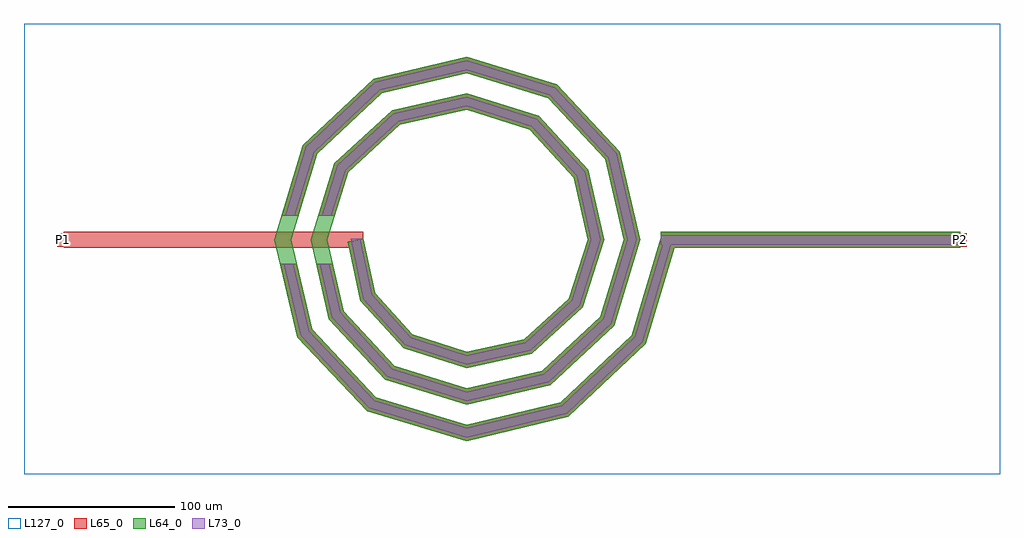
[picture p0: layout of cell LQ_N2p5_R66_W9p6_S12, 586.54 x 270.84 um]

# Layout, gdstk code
import gdstk
lib = gdstk.Library(unit=1e-6, precision=1e-09)
def R(c, l, rs):  # rectangles x0, y0, x1, y1
    for r in rs: c.add(gdstk.rectangle(r[:2], r[2:], *l))
def P(c, l, *ps):  # polygons
    for p in ps: c.add(gdstk.Polygon(p, *l))
L64_0 = (64, 0)
L65_0 = (65, 0)
L73_0 = (73, 0)
L127_0 = (127, 0)

lq_n2p5_r66_w9p6_s12 = lib.new_cell('LQ_N2p5_R66_W9p6_S12')
R(lq_n2p5_r66_w9p6_s12, L64_0, [(116.578,-4.8,296.578,4.8)])
P(lq_n2p5_r66_w9p6_s12, L64_0, [(-54.969,-32.02),(-32.51,-56.788),(0.234,-67.255),(34.735,-59.707),(61.509,-35.255),(72.717,0.217),(64.445,37.452),(37.999,66.231),(0.203,78.178),(-40.171,69.181),(-70.955,40.741),(-83.64,0.19),(-73.917,-42.892),(-43.482,-75.679),(0.179,-89.101),(45.613,-78.653),(80.404,-46.222),(94.563,0.17),(83.387,48.336),(48.96,85.129),(0.161,100.025),(-51.059,88.122),(-89.855,51.698),(-105.486,0.153),(-92.856,-53.784),(-54.436,-94.581),(0.146,-110.948),(56.509,-97.589),(99.308,-57.173),(116.778,1.373),(125.977,-1.373),(107.771,-62.385),(61.228,-106.337),(0.146,-120.883),(-59.659,-103.037),(-101.61,-58.491),(-115.421,0.153),(-98.303,56.935),(-55.753,96.883),(0.161,109.959),(54.211,93.569),(92.157,53.014),(104.497,0.17),(88.834,-51.488),(50.275,-87.431),(0.179,-99.034),(-48.765,-84.098),(-82.706,-47.535),(-93.572,0.19),(-79.362,46.044),(-44.793,77.981),(0.203,88.11),(43.324,74.625),(73.258,42.05),(82.647,0.217),(69.886,-40.606),(39.305,-68.535),(0.234,-77.184),(-37.889,-65.147),(-63.813,-36.558),(-71.451,-1.008),(-62.065,1.008)])
R(lq_n2p5_r66_w9p6_s12, L65_0, [(-241.958,-4.8,-61.958,4.8), (116.578,-4.8,296.578,4.8), (-245.958,-4,-237.958,4), (292.578,-4,300.578,4)])
P(lq_n2p5_r66_w9p6_s12, L65_0, [(-92.856,-53.784),(-54.436,-94.581),(0.146,-110.948),(56.509,-97.589),(99.308,-57.173),(116.778,1.373),(125.977,-1.373),(107.771,-62.385),(61.228,-106.337),(0.146,-120.883),(-59.659,-103.037),(-101.61,-58.491),(-111.994,-14.4),(-102.131,-14.4)],
  [(-73.917,-42.892),(-43.482,-75.679),(0.179,-89.101),(45.613,-78.653),(80.404,-46.222),(94.563,0.17),(83.387,48.336),(48.96,85.129),(0.161,100.025),(-51.06,88.122),(-89.855,51.698),(-101.099,14.4),(-111.126,14.4),(-98.303,56.935),(-55.753,96.883),(0.161,109.959),(54.211,93.569),(92.157,53.015),(104.497,0.17),(88.834,-51.488),(50.275,-87.431),(0.179,-99.034),(-48.765,-84.098),(-82.706,-47.535),(-90.25,-14.4),(-80.404,-14.4)],
  [(-32.51,-56.788),(0.234,-67.255),(34.735,-59.707),(61.509,-35.255),(72.717,0.217),(64.445,37.452),(37.999,66.231),(0.203,78.178),(-40.171,69.182),(-70.955,40.741),(-79.118,14.4),(-89.168,14.4),(-79.362,46.044),(-44.793,77.981),(0.203,88.11),(43.324,74.625),(73.258,42.05),(82.647,0.217),(69.886,-40.606),(39.305,-68.535),(0.234,-77.184),(-37.889,-65.147),(-63.813,-36.558),(-71.451,-1.008),(-62.065,1.008),(-54.969,-32.02)])
R(lq_n2p5_r66_w9p6_s12, L73_0, [(116.578,-2.8,296.578,2.8)])
P(lq_n2p5_r66_w9p6_s12, L73_0, [(-94.679,-54.764),(-55.524,-96.343),(0.085,-113.018),(57.492,-99.412),(101.071,-58.258),(118.695,0.801),(124.061,0.801),(106.008,-61.299),(60.245,-104.514),(0.085,-118.814),(-58.571,-101.276),(-99.786,-57.51),(-109.939,-14.4),(-104.186,-14.4)],
  [(-75.748,-43.859),(-44.583,-77.433),(0.105,-91.171),(46.585,-80.482),(82.16,-47.319),(96.633,0.099),(85.214,49.311),(50.054,86.887),(0.094,102.094),(-52.037,89.947),(-91.615,52.789),(-103.188,14.4),(-109.037,14.4),(-96.543,55.844),(-54.775,95.058),(0.094,107.889),(53.117,91.81),(90.33,52.04),(102.427,0.099),(87.077,-50.391),(49.304,-85.602),(0.105,-96.965),(-47.665,-82.344),(-80.875,-46.568),(-88.199,-14.4),(-82.456,-14.4)],
  [(-33.631,-58.529),(0.136,-69.324),(35.687,-61.546),(63.254,-36.37),(74.785,0.127),(66.281,38.41),(39.109,67.98),(0.118,80.247),(-41.134,71.015),(-72.706,41.846),(-81.212,14.4),(-87.075,14.4),(-77.61,44.939),(-43.83,76.148),(0.118,86.041),(42.215,72.876),(71.422,41.092),(80.578,0.127),(68.141,-39.491),(38.353,-66.696),(0.136,-75.116),(-36.769,-63.406),(-61.97,-35.613),(-69.495,0.588),(-64.02,0.588),(-56.811,-32.966)])
R(lq_n2p5_r66_w9p6_s12, L127_0, [(-265.958,-140.883,320.578,129.959)])
lq_n2p5_r66_w9p6_s12.add(gdstk.Label('P2', (296.578,0), layer=65, texttype=0))
lq_n2p5_r66_w9p6_s12.add(gdstk.Label('P1', (-241.958,0), layer=65, texttype=0))
lq_n2p5_r66_w9p6_s12.add(gdstk.Label('P2', (300.578,0), layer=145, texttype=0))
lq_n2p5_r66_w9p6_s12.add(gdstk.Label('P1', (-245.958,0), layer=145, texttype=0))

lib.write_gds('LQ_N2p5_R66_W9p6_S12.gds')
